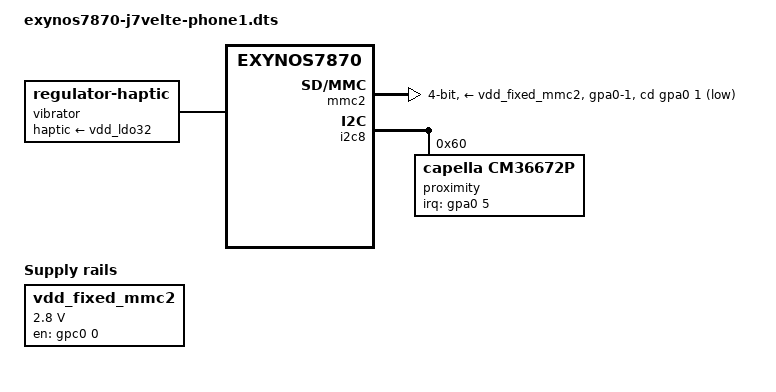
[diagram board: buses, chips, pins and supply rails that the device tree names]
// SPDX-License-Identifier: GPL-2.0-only
/* Written by Claude 2026-10-09. eMMC-DDR52 tree plus two "phone feature"
 * items that only need device-tree nodes. PREPARED WITHOUT THE PHONE: built
 * and verified on the host, not yet booted.
 *
 * Vibration motor: the vendor "sec_vib" node drives it by switching the
 * regulator VDD_MOTOR_3.3 (PMIC LDO32) on and off, which is exactly what the
 * mainline regulator-haptic driver does.
 *
 * microSD slot (mmc2): pins, the gpc0-0 controlled 2.8 V supply, LDO2 as the
 * I/O supply and card detect on gpa0-1 are the same as on the mainline
 * Galaxy J6 board and match this phone's live vendor tree. Unlike that board
 * no UHS modes are enabled here: plain high speed first.
 *
 * Proximity sensor: Capella CM36672P at 0x60 on i2c8 (0x138e0000), interrupt
 * on gpa0-5, supply always on in the vendor tree. Mainline's vcnl4000 IIO
 * driver has this chip ("capella,cm36672p").
 */
#include "exynos7870-j7velte-emmchs.dts"

/ {
    vibrator {
        compatible = "regulator-haptic";
        haptic-supply = <&vdd_ldo32>;
        min-microvolt = <3300000>;
        max-microvolt = <3300000>;
    };

    vdd_fixed_mmc2: regulator-fixed-mmc2 {
        compatible = "regulator-fixed";
        regulator-name = "vdd_fixed_mmc2";
        regulator-min-microvolt = <2800000>;
        regulator-max-microvolt = <2800000>;
        gpio = <&gpc0 0 GPIO_ACTIVE_HIGH>;
        enable-active-high;
    };
};

&pinctrl_alive {
    dwmmc2_irq: dwmmc2-irq-pins {
        samsung,pins = "gpa0-1";
        samsung,pin-function = <EXYNOS_PIN_FUNC_EINT>;
        samsung,pin-pud = <EXYNOS_PIN_PULL_NONE>;
    };
};

&mmc2 {
    pinctrl-names = "default";
    pinctrl-0 = <&sd2_clk &sd2_cmd &sd2_bus1 &sd2_bus4 &dwmmc2_irq>;
    vmmc-supply = <&vdd_fixed_mmc2>;
    vqmmc-supply = <&vdd_ldo2>;
    bus-width = <4>;
    cap-sd-highspeed;
    cd-gpios = <&gpa0 1 GPIO_ACTIVE_LOW>;
    card-detect-delay = <200>;
    fifo-depth = <64>;
    samsung,dw-mshc-ciu-div = <3>;
    samsung,dw-mshc-sdr-timing = <0 3>;
    samsung,dw-mshc-ddr-timing = <1 2>;
    disable-wp;
    status = "okay";
};

&i2c8 {
    #address-cells = <1>;
    #size-cells = <0>;
    samsung,i2c-sda-delay = <100>;
    samsung,i2c-max-bus-freq = <400000>;
    status = "okay";

    proximity@60 {
        compatible = "capella,cm36672p";
        reg = <0x60>;
        interrupt-parent = <&gpa0>;
        interrupts = <5 IRQ_TYPE_EDGE_FALLING>;
        proximity-near-level = <15>;   /* vendor default_low_thd */
    };
};
